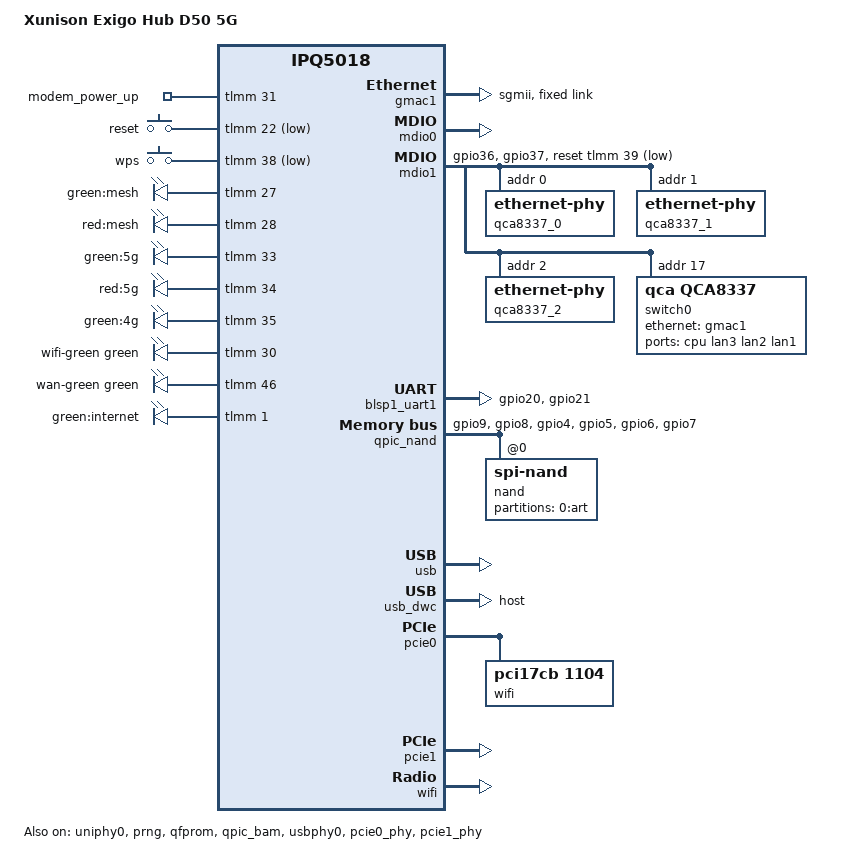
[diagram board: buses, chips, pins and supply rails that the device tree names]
/dts-v1/;

#include "ipq5018.dtsi"
#include "ipq5018-ess.dtsi"

#include <dt-bindings/gpio/gpio.h>
#include <dt-bindings/input/input.h>
#include <dt-bindings/leds/common.h>

/ {
	model = "Xunison Exigo Hub D50 5G";
	compatible = "xunison,exigo-hub-d50-5g", "qcom,ipq5018";

	aliases {
		ethernet1 = &gmac1;
		label-mac-device = &gmac1;
		led-boot = &led_mesh_g;
		led-failsafe = &led_mesh_r;
		led-running = &led_mesh_g;
		led-upgrade = &led_mesh_r;
		serial0 = &blsp1_uart1;
	};

	chosen {
    		bootargs = "console=ttyMSM0,115200n8 ubi.mtd=rootfs ubi.block=0,1 root=/dev/ubiblock0_1 rootfstype=squashfs rootwait swiotlb=1 coherent_pool=2M pcie_port_pm=off";
		stdout-path = "serial0:115200n8";
	};
	
	modem {
		compatible = "gpio-export";
		pinctrl-names = "default";
		pinctrl-0 = <&modem_pins>;

		modem-power {
			gpio-export,name = "modem_power_up";
			gpio-export,output = <1>;
			gpios = <&tlmm 31 GPIO_ACTIVE_HIGH>;
		};
	};

	keys {
		compatible = "gpio-keys";
		pinctrl-0 = <&button_pins>;
		pinctrl-names = "default";

		button-reset {
			label = "reset";
			gpios = <&tlmm 22 GPIO_ACTIVE_LOW>;
			linux,code = <KEY_RESTART>;
		};

		button-wps {
			label = "wps";
			gpios = <&tlmm 38 GPIO_ACTIVE_LOW>;
			linux,code = <KEY_WPS_BUTTON>;
		};
	};

	leds {
		compatible = "gpio-leds";
		pinctrl-0 = <&leds_pins>;
		pinctrl-names = "default";

		led_mesh_g: mesh-green {
			label = "green:mesh";
			gpios = <&tlmm 27 GPIO_ACTIVE_HIGH>;
		};

		led_mesh_r: mesh-red {
			label = "red:mesh";
			gpios = <&tlmm 28 GPIO_ACTIVE_HIGH>;
		};

		l5g-green {
			label = "green:5g";
			gpios = <&tlmm 33 GPIO_ACTIVE_HIGH>;
		};

		l5g-red {
			label = "red:5g";
			gpios = <&tlmm 34 GPIO_ACTIVE_HIGH>;
		};

		l4g-green {
			label = "green:4g";
			gpios = <&tlmm 35 GPIO_ACTIVE_HIGH>;
		};

                /*
		wifi-green {
			color = <LED_COLOR_ID_GREEN>;
			function = LED_FUNCTION_WLAN;
			gpios = <&tlmm 30 GPIO_ACTIVE_HIGH>;
		};
                */

                // Alternative Wi-Fi LED control
		wifi-green {
			color = <LED_COLOR_ID_GREEN>;
			function = LED_FUNCTION_WLAN;
			gpios = <&tlmm 30 GPIO_ACTIVE_HIGH>;
			linux,default-trigger = "network";
		};
		
                // Alternative WAN LED control
		wan-green {
			color = <LED_COLOR_ID_GREEN>;
			function = LED_FUNCTION_WAN;
			gpios = <&tlmm 46 GPIO_ACTIVE_HIGH>;
			linux,default-trigger = "network";
		};

		internet-green {
			label = "green:internet";
			gpios = <&tlmm 1 GPIO_ACTIVE_HIGH>;
		};
	};
};

&uniphy0 {
	status = "okay";

	assigned-clocks = <&uniphy0 UNIPHY_CLK_REF>;
	assigned-clock-rates = <UNIPHY_REFCLK_25MHZ>;
};

// MAC1 ---SGMII---> QCA8337 SerDes
&gmac1 {
	status = "okay";

	phy-mode = "sgmii";

	nvmem-cells = <&macaddr_gmac1 0>;
	nvmem-cell-names = "mac-address";

	fixed-link {
		speed = <1000>;
		full-duplex;
	};
};

&mdio0 {
	status = "okay";
};

&mdio1 {
	status = "okay";
	pinctrl-0 = <&mdio1_pins>;
	pinctrl-names = "default";
	reset-gpios = <&tlmm 39 GPIO_ACTIVE_LOW>;

	// QCA8337 Phy0 -> LAN3
	qca8337_0: ethernet-phy@0 {
		reg = <0>;
	};

	// QCA8337 Phy1 -> LAN2
	qca8337_1: ethernet-phy@1 {
		reg = <1>;
	};

	// QCA8337 Phy3 -> LAN1
	qca8337_2: ethernet-phy@2 {
		reg = <2>;
	};

	// QCA8337 switch
	switch0: ethernet-switch@17 {
		compatible = "qca,qca8337";
		reg = <17>;
		#address-cells = <1>;
		#size-cells = <0>;

		ports {
			#address-cells = <1>;
			#size-cells = <0>;

			switch0cpu: port@0 {
				reg = <0>;
				label = "cpu";
				phy-mode = "sgmii";
				ethernet = <&gmac1>;
				qca,sgmii-enable-pll;

				fixed-link {
					speed = <1000>;
					full-duplex;
				};
			};

			// QCA8337 Phy0 -> LAN3
			port@1 {
				reg = <1>;
				label = "lan3";
				phy-handle = <&qca8337_0>;

				nvmem-cells = <&macaddr_gmac1 0>;
				nvmem-cell-names = "mac-address";
			};

			// QCA8337 Phy1 -> LAN2
			port@2 {
				reg = <2>;
				label = "lan2";
				phy-handle = <&qca8337_1>;

				nvmem-cells = <&macaddr_gmac1 0>;
				nvmem-cell-names = "mac-address";
			};

			// QCA8337 Phy3 -> LAN1
			port@3 {
				reg = <3>;
				label = "lan1";
				phy-handle = <&qca8337_2>;

				nvmem-cells = <&macaddr_gmac1 0>;
				nvmem-cell-names = "mac-address";
			};
		};
	};
};

&sleep_clk {
	clock-frequency = <32000>;
};

&xo_board_clk {
	clock-div = <4>;
	clock-mult = <1>;
};

&blsp1_uart1 {
	pinctrl-0 = <&serial_0_pins>;
	pinctrl-names = "default";
	status = "okay";
};

&prng {
	status = "okay";
};

&qfprom {
	status = "okay";
};

&qpic_bam {
	status = "okay";
};

&qpic_nand {
	pinctrl-0 = <&qpic_pins>;
	pinctrl-names = "default";
	status = "okay";

	nand@0 {
		compatible = "spi-nand";
		reg = <0>;

		nand-ecc-engine = <&qpic_nand>;
		nand-ecc-strength = <4>;
		nand-ecc-step-size = <512>;
		nand-bus-width = <8>;
		/* qcom,boot-partitions-no-subpage; */

		partitions {
			compatible = "qcom,smem-part";

			partition-0-art {
				label = "0:art";
				read-only;

				nvmem-layout {
					compatible = "fixed-layout";
					#address-cells = <1>;
					#size-cells = <1>;

					macaddr_gmac1: macaddr@0 {
						compatible = "mac-base";
						#nvmem-cell-cells = <1>;
						reg = <0x6 0x6>;
					};
				};
			};
		};
	};
};

&tlmm {
	mdio1_pins: mdio-state {
		mdc-pins {
			pins = "gpio36";
			function = "mdc";
			drive-strength = <8>;
			bias-pull-up;
		};

		mdio-pins {
			pins = "gpio37";
			function = "mdio";
			drive-strength = <8>;
			bias-pull-up;
		};
	};

	leds_pins: leds-pins {
		pins = "gpio1", "gpio27", "gpio28", "gpio30", "gpio33", "gpio34", "gpio35";
		function = "gpio";
		drive-strength = <8>;
		bias-pull-down;
	};
	
	/* Modem Control Pins: GPIO 31 (Power) */
	modem_pins: modem-pins {
		mux {
			pins = "gpio31";
			function = "gpio";
			drive-strength = <8>;
			bias-pull-up;
		};
	};

	button_pins: button-pins {
		pins = "gpio22", "gpio38";
		function = "gpio";
		drive-strength = <8>;
		bias-pull-up;
	};

	qpic_pins: qpic-state {
		clock-pins {
			pins = "gpio9";
			function = "qspi_clk";
			drive-strength = <8>;
			bias-disable;
		};

		cs-pins {
			pins = "gpio8";
			function = "qspi_cs";
			drive-strength = <8>;
			bias-disable;
		};

		data-pins {
			pins = "gpio4", "gpio5", "gpio6", "gpio7";
			function = "qspi_data";
			drive-strength = <8>;
			bias-disable;
		};
	};

	serial_0_pins: uart0-state {
		pins = "gpio20", "gpio21";
		function = "blsp0_uart0";
		drive-strength = <8>;
		bias-disable;
	};
};

&usbphy0 {
	status = "okay";
};

&usb {
	status = "okay";
};

&usb_dwc {
	#address-cells = <1>;
	#size-cells = <0>;
	dr_mode = "host";

	usb_port1: port@1 {
		reg = <1>;
		#trigger-source-cells = <0>;
	};
};

&pcie0_phy {
	status = "okay";
};

&pcie0 {
	status = "okay";

	perst-gpios = <&tlmm 15 GPIO_ACTIVE_LOW>;

	pcie@0 {
		wifi@0,0 {
			status = "okay";

			/* QCN9074: ath11k lacks DT compatible for PCI cards */
			compatible = "pci17cb,1104";
			reg = <0x00010000 0 0 0 0>;

			qcom,ath11k-calibration-variant = "Xunison-Exigo-Hub-D50-5G";
		};
	};
};

&pcie1_phy {
	status = "okay";
};

&pcie1 {
	status = "okay";
	perst-gpios = <&tlmm 18 GPIO_ACTIVE_LOW>;
	wake-gpios = <&tlmm 19 GPIO_ACTIVE_HIGH>;
	
	pcie@0 {
		modem@0 {
			/* compatible = "pci17cb,0306"; */
			reg = <0x00010000 0 0 0 0>;
			#address-cells = <3>;
			#size-cells = <2>;
		};
	};
};

&q6v5_wcss {
	firmware-name = "ath11k/IPQ5018/hw1.0/q6_fw.mdt",
			"ath11k/IPQ5018/hw1.0/m3_fw.mdt";
};

&wifi {
	status = "okay";

	qcom,rproc = <&q6v5_wcss>;
	qcom,ath11k-calibration-variant = "Xunison-Exigo-Hub-D50-5G";
	qcom,ath11k-fw-memory-mode = <1>;
};
